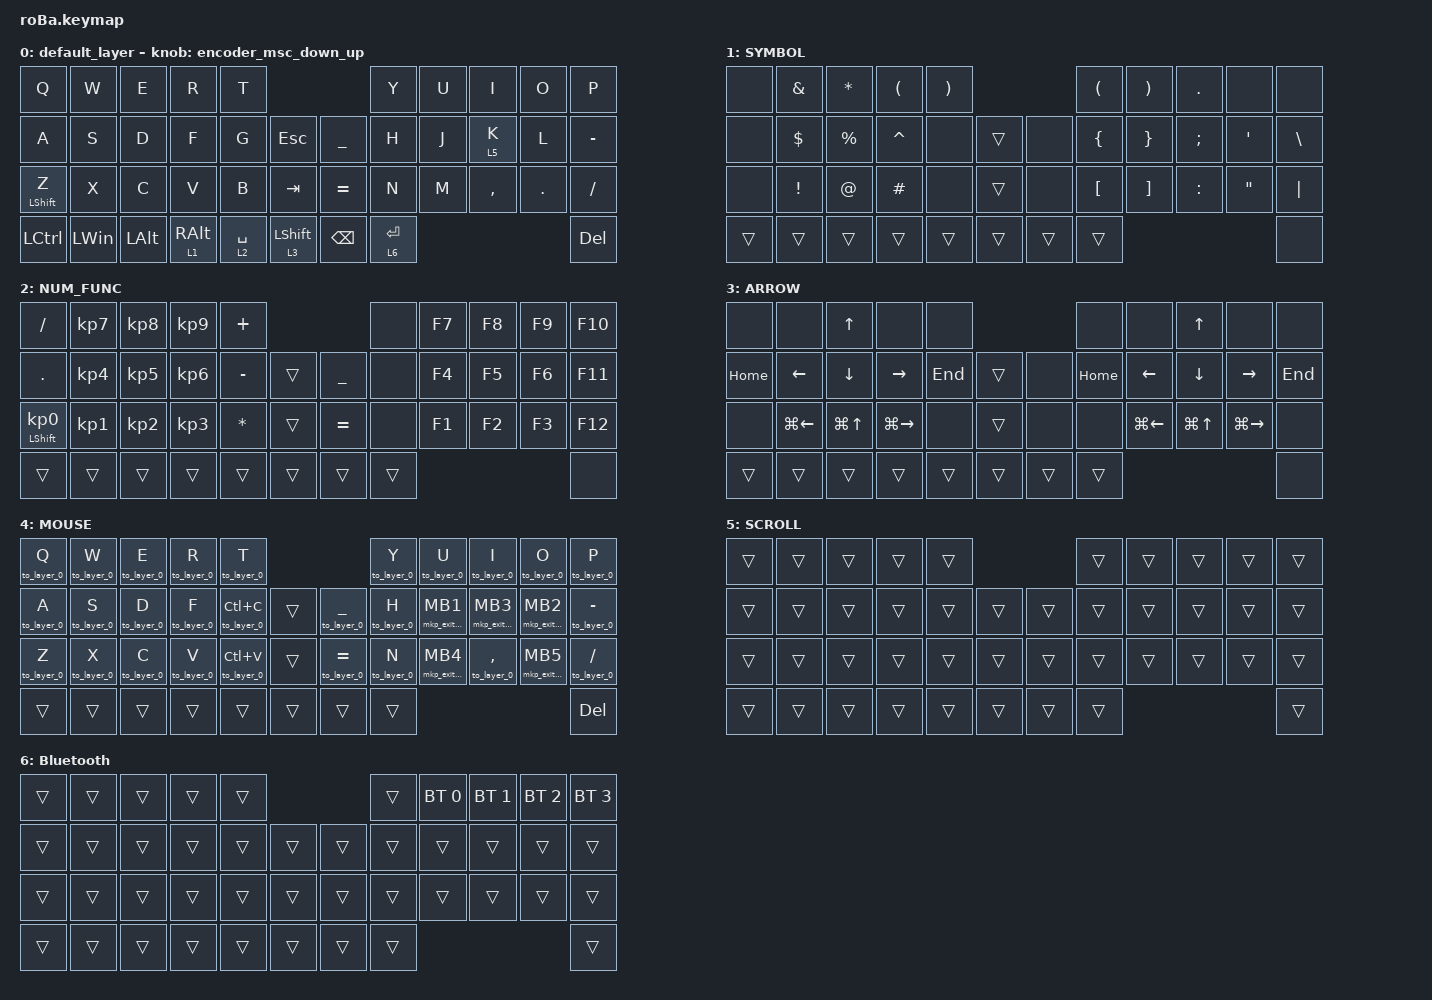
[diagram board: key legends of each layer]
#include <behaviors.dtsi>
#include <dt-bindings/zmk/bt.h>
#include <dt-bindings/zmk/keys.h>
#include <dt-bindings/zmk/pointing.h>

#define ZMK_POINTING_DEFAULT_SCRL_VAL 80

&mt {
    flavor = "balanced";
    quick-tap-ms = <0>;
};

&trackball {
    automouse-layer = <4>;
    scroll-layers = <5>;

    // arrows {
    //     layers = <3>;
    //     bindings =
    //         <&kp RIGHT_ARROW>,
    //         <&kp LEFT_ARROW>,
    //         <&kp UP_ARROW>,
    //         <&kp DOWN_ARROW>;
    //     tick = <10>;
    //     wait-ms = <5>;
    //     tap-ms = <5>;
    // };
};

/ {
    combos {
        compatible = "zmk,combos";

        tab {
            bindings = <&kp TAB>;
            key-positions = <11 12>;
        };

        shift_tab {
            bindings = <&kp LS(TAB)>;
            key-positions = <12 13>;
        };

        muhennkann {
            bindings = <&to_layer_0 INT_MUHENKAN>;
            key-positions = <11 10>;
        };

        double_quotation {
            bindings = <&kp DOUBLE_QUOTES>;
            key-positions = <20 21>;
        };

        eq {
            bindings = <&kp EQUAL>;
            key-positions = <24 25>;
        };
    };

    macros {
        to_layer_0: to_layer_0 {
            compatible = "zmk,behavior-macro-one-param";
            #binding-cells = <1>;
            bindings = <&to 0 &macro_param_1to1 &kp MACRO_PLACEHOLDER>;
            label = "TO_LAYER_0";
        };

        mkp_exit_AML: mkp_exit_AML {
            compatible = "zmk,behavior-macro-one-param";
            #binding-cells = <1>;
            bindings =
                <&macro_press>,
                <&macro_param_1to1 &mkp MACRO_PLACEHOLDER>,
                <&macro_pause_for_release>,
                <&macro_release>,
                <&macro_param_1to1 &mkp MACRO_PLACEHOLDER>,
                <&macro_tap>,
                <&sl 4>;

            label = "MKP_EXIT_AML";
        };
    };

    behaviors {
        lt_to_layer_0: lt_to_layer_0 {
            compatible = "zmk,behavior-hold-tap";
            label = "LAYER_TAP_TO_0";
            bindings = <&mo>, <&to_layer_0>;

            #binding-cells = <2>;
            tapping-term-ms = <200>;
        };

        encoder_msc_down_up: encoder_msc_down_up {
            compatible = "zmk,behavior-sensor-rotate";
            label = "ENCODER_MSC_DOWN_UP";
            #sensor-binding-cells = <0>;
            bindings = <&msc SCRL_DOWN>, <&msc SCRL_UP>;

            tap-ms = <20>;
        };
    };

    keymap {
        compatible = "zmk,keymap";

        default_layer {
            bindings = <
&kp Q             &kp W         &kp E         &kp R            &kp T                                              &kp Y        &kp U  &kp I      &kp O    &kp P
&kp A             &kp S         &kp D         &kp F            &kp G        &kp ESC               &kp UNDERSCORE  &kp H        &kp J  &lt 5 K    &kp L    &kp MINUS
&mt LEFT_SHIFT Z  &kp X         &kp C         &kp V            &kp B        &kp TAB               &kp EQUAL       &kp N        &kp M  &kp COMMA  &kp DOT  &kp SLASH
&kp LCTRL         &kp LEFT_WIN  &kp LEFT_ALT  &lt 1 RIGHT_ALT  &lt 2 SPACE  &lt 3 LEFT_SHIFT      &kp BACKSPACE   &lt 6 ENTER                             &kp DEL
            >;

            sensor-bindings = <&encoder_msc_down_up>;
            sensor-bindings = <&encoder_msc_down_up>;
        };

        SYMBOL {
            bindings = <
&none   &kp AMPERSAND    &kp ASTERISK  &kp LEFT_PARENTHESIS  &kp RIGHT_PARENTHESIS                      &kp LEFT_PARENTHESIS  &kp RIGHT_PARENTHESIS  &kp PERIOD     &none              &none
&none   &kp DOLLAR       &kp PERCENT   &kp CARET             &none                  &trans      &none   &kp LEFT_BRACE        &kp RIGHT_BRACE        &kp SEMICOLON  &kp SQT            &kp BACKSLASH
&none   &kp EXCLAMATION  &kp AT_SIGN   &kp HASH              &none                  &trans      &none   &kp LEFT_BRACKET      &kp RIGHT_BRACKET      &kp COLON      &kp DOUBLE_QUOTES  &kp PIPE
&trans  &trans           &trans        &trans                &trans                 &trans      &trans  &trans                                                                         &none
            >;
        };

        NUM_FUNC {
            bindings = <
&kp SLASH                   &kp KP_NUMBER_7  &kp KP_NUMBER_8  &kp KP_NUMBER_9  &kp PLUS                                  &none   &kp F7  &kp F8  &kp F9  &kp F10
&kp PERIOD                  &kp KP_NUMBER_4  &kp KP_NUMBER_5  &kp KP_NUMBER_6  &kp MINUS     &trans      &kp UNDERSCORE  &none   &kp F4  &kp F5  &kp F6  &kp F11
&mt LEFT_SHIFT KP_NUMBER_0  &kp KP_NUMBER_1  &kp KP_NUMBER_2  &kp KP_NUMBER_3  &kp ASTERISK  &trans      &kp EQUAL       &none   &kp F1  &kp F2  &kp F3  &kp F12
&trans                      &trans           &trans           &trans           &trans        &trans      &trans          &trans                          &none
            >;
        };

        ARROW {
            bindings = <
&none     &none               &kp UP_ARROW      &none                &none                        &none     &none               &kp UP_ARROW      &none                &none
&kp HOME  &kp LEFT_ARROW      &kp DOWN_ARROW    &kp RIGHT_ARROW      &kp END  &trans      &none   &kp HOME  &kp LEFT_ARROW      &kp DOWN_ARROW    &kp RIGHT_ARROW      &kp END
&none     &kp LG(LEFT_ARROW)  &kp LG(UP_ARROW)  &kp LG(RIGHT_ARROW)  &none    &trans      &none   &none     &kp LG(LEFT_ARROW)  &kp LG(UP_ARROW)  &kp LG(RIGHT_ARROW)  &none
&trans    &trans              &trans            &trans               &trans   &trans      &trans  &trans                                                               &none
            >;
        };

        MOUSE {
            bindings = <
&to_layer_0 Q  &to_layer_0 W  &to_layer_0 E  &to_layer_0 R  &to_layer_0 T                                          &to_layer_0 Y  &to_layer_0 U      &to_layer_0 I      &to_layer_0 O      &to_layer_0 P
&to_layer_0 A  &to_layer_0 S  &to_layer_0 D  &to_layer_0 F  &to_layer_0 LC(C)  &trans      &to_layer_0 UNDERSCORE  &to_layer_0 H  &mkp_exit_AML MB1  &mkp_exit_AML MB3  &mkp_exit_AML MB2  &to_layer_0 MINUS
&to_layer_0 Z  &to_layer_0 X  &to_layer_0 C  &to_layer_0 V  &to_layer_0 LC(V)  &trans      &to_layer_0 EQUAL       &to_layer_0 N  &mkp_exit_AML MB4  &to_layer_0 COMMA  &mkp_exit_AML MB5  &to_layer_0 SLASH
&trans         &trans         &trans         &trans         &trans             &trans      &trans                  &trans                                                                  &kp DEL
            >;
        };

        SCROLL {
            bindings = <
&trans  &trans  &trans  &trans  &trans                      &trans  &trans  &trans  &trans  &trans
&trans  &trans  &trans  &trans  &trans  &trans      &trans  &trans  &trans  &trans  &trans  &trans
&trans  &trans  &trans  &trans  &trans  &trans      &trans  &trans  &trans  &trans  &trans  &trans
&trans  &trans  &trans  &trans  &trans  &trans      &trans  &trans                          &trans
            >;
        };

        Bluetooth {
            bindings = <
&trans  &trans  &trans  &trans  &trans                      &trans  &bt BT_SEL 0  &bt BT_SEL 1  &bt BT_SEL 2  &bt BT_SEL 3
&trans  &trans  &trans  &trans  &trans  &trans      &trans  &trans  &trans        &trans        &trans        &trans
&trans  &trans  &trans  &trans  &trans  &trans      &trans  &trans  &trans        &trans        &trans        &trans
&trans  &trans  &trans  &trans  &trans  &trans      &trans  &trans                                            &trans
            >;
        };
    };
};
